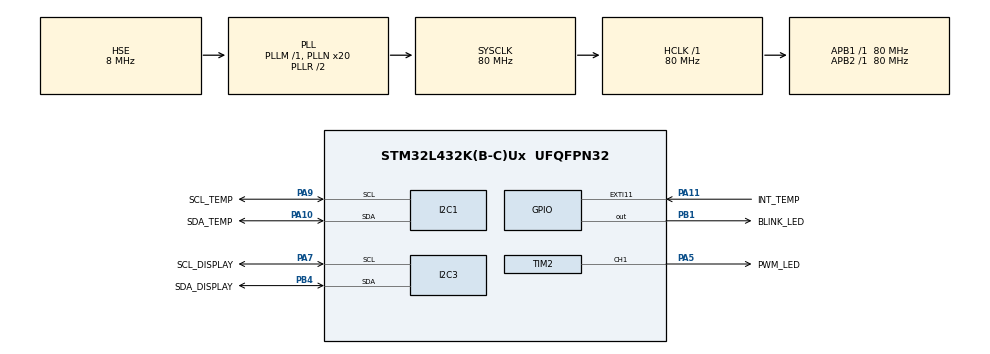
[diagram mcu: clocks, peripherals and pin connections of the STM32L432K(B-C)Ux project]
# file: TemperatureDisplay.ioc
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Dma.Request0=TIM2_CH1
Dma.TIM2_CH1.0.Direction=DMA_MEMORY_TO_PERIPH
Dma.TIM2_CH1.0.Instance=DMA1_Channel5
Dma.TIM2_CH1.0.MemDataAlignment=DMA_MDATAALIGN_BYTE
Dma.TIM2_CH1.0.MemInc=DMA_MINC_ENABLE
Dma.TIM2_CH1.0.Mode=DMA_NORMAL
Dma.TIM2_CH1.0.PeriphDataAlignment=DMA_PDATAALIGN_WORD
Dma.TIM2_CH1.0.PeriphInc=DMA_PINC_DISABLE
Dma.TIM2_CH1.0.Priority=DMA_PRIORITY_LOW
FREERTOS.Events01=sensorEvent,Static,sensorEventControlBlock
FREERTOS.INCLUDE_uxTaskGetStackHighWaterMark2=1
FREERTOS.Queues01=humidityValue,10,uint8_t,0,Static,humidityValueBuffer,humidityValueControlBlock;temperatureValue,10,uint8_t,0,Static,temperatureValueBuffer,temperatureValueControlBlock
FREERTOS.Tasks01=defaultTask,24,128,StartDefaultTask,Default,NULL,Static,defaultTaskBuffer,defaultTaskControlBlock;sensorTask,24,512,StartSensorTask,Default,NULL,Static,sensorTaskBuffer,sensorTaskControlBlock;displayTask,16,3000,StartDisplayTask,Default,NULL,Static,displayTaskBuffer,displayTaskControlBlock;ledTask,8,256,StartLedTask,Default,NULL,Static,ledTaskBuffer,ledTaskControlBlock
FREERTOS.configCHECK_FOR_STACK_OVERFLOW=2
FREERTOS.configENABLE_FPU=1
FREERTOS.configUSE_NEWLIB_REENTRANT=1
I2C1.Timing=0x10D19CE4
I2C3.Speed=100
I2C3.Timing=0x10D19CE4
Mcu.Family=STM32L4
Mcu.Name=STM32L432K(B-C)Ux
Mcu.Package=UFQFPN32
NVIC.DMA1_Channel5_IRQn=true\:5\:0\:false\:false\:true\:true\:false\:true\:true
NVIC.EXTI15_10_IRQn=true\:5\:0\:false\:false\:true\:true\:true\:true\:true
NVIC.PriorityGroup=NVIC_PRIORITYGROUP_4
NVIC.TIM2_IRQn=true\:5\:0\:false\:false\:true\:true\:true\:true\:true
NVIC.TIM7_IRQn=true\:15\:0\:false\:false\:true\:false\:false\:true\:true
NVIC.TimeBase=TIM7_IRQn
NVIC.TimeBaseIP=TIM7
PA0.Mode=HSE-External-Clock-Source-for-LittleOrca
PA0.Signal=RCC_CK_IN
PA10.GPIO_Label=SDA_TEMP
PA10.Mode=I2C
PA10.Signal=I2C1_SDA
PA11.GPIO_Label=INT_TEMP
PA11.GPIO_ModeDefaultEXTI=GPIO_MODE_IT_FALLING
PA11.GPIO_PuPd=GPIO_PULLUP
PA11.Signal=GPXTI11
PA13\ (JTMS-SWDIO).Mode=Serial_Wire
PA13\ (JTMS-SWDIO).Signal=SYS_JTMS-SWDIO
PA14\ (JTCK-SWCLK).Mode=Serial_Wire
PA14\ (JTCK-SWCLK).Signal=SYS_JTCK-SWCLK
PA5.GPIO_Label=PWM_LED
PA5.Signal=S_TIM2_CH1
PA7.GPIO_Label=SCL_DISPLAY
PA7.GPIO_Pu=GPIO_PULLUP
PA7.Mode=I2C
PA7.Signal=I2C3_SCL
PA9.GPIO_Label=SCL_TEMP
PA9.Mode=I2C
PA9.Signal=I2C1_SCL
PB1.GPIO_Label=BLINK_LED
PB1.Signal=GPIO_Output
PB4\ (NJTRST).GPIO_Label=SDA_DISPLAY
PB4\ (NJTRST).GPIO_Pu=GPIO_PULLUP
PB4\ (NJTRST).Mode=I2C
PB4\ (NJTRST).Signal=I2C3_SDA
ProjectManager.HeapSize=0x200
ProjectManager.StackSize=0x400
ProjectManager.TargetToolchain=CMake
RCC.ADCFreq_Value=32000000
RCC.AHBFreq_Value=80000000
RCC.APB1Freq_Value=80000000
RCC.APB1TimFreq_Value=80000000
RCC.APB2Freq_Value=80000000
RCC.APB2TimFreq_Value=80000000
RCC.CortexFreq_Value=80000000
RCC.HCLKFreq_Value=80000000
RCC.HSE_VALUE=8000000
RCC.HSI48_VALUE=48000000
RCC.HSI_VALUE=16000000
RCC.LSE_VALUE=32768
RCC.MSI_VALUE=4000000
RCC.PLLN=20
RCC.PLLSourceVirtual=RCC_PLLSOURCE_HSE
RCC.SYSCLKFreq_VALUE=80000000
RCC.SYSCLKSource=RCC_SYSCLKSOURCE_PLLCLK
RCC.USBFreq_Value=32000000
RCC.VCOOutputFreq_Value=160000000
SH.S_TIM2_CH1.0=TIM2_CH1,PWM Generation1 CH1
TIM2.Channel-PWM\ Generation1\ CH1=TIM_CHANNEL_1
TIM2.Period=99
VP_FREERTOS_VS_CMSIS_V2.Mode=CMSIS_V2
VP_SYS_VS_tim7.Mode=TIM7
VP_TIM2_VS_ClockSourceINT.Mode=Internal
board=custom

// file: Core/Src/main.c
/* USER CODE BEGIN Header */
/**
  ******************************************************************************
  * @file           : main.c
  * @brief          : Main program body
  ******************************************************************************
  * @attention
  *
  * Copyright (c) 2026 STMicroelectronics.
  * All rights reserved.
  *
  * This software is licensed under terms that can be found in the LICENSE file
  * in the root directory of this software component.
  * If no LICENSE file comes with this software, it is provided AS-IS.
  *
  ******************************************************************************
  */
/* USER CODE END Header */
#include "main.h"
#include "cmsis_os.h"

/* USER CODE BEGIN Includes */
#include "ssd1306_fonts.h"
#include "ssd1306.h"
#include "hdc2010.h"
#include "ws2812b.h"
#include <stdio.h>
// I2C api
// https://dev.st.com/stm32cube-docs/stm32u5-hal2/2.0.0-beta.1.1/docs/drivers/hal_drivers/i2c/hal_i2c_apis.html

/* USER CODE END Includes */

typedef StaticTask_t osStaticThreadDef_t;
typedef StaticQueue_t osStaticMessageQDef_t;
typedef StaticEventGroup_t osStaticEventGroupDef_t;

/* USER CODE BEGIN PD */

// FreeRTOS Events
#define SENSOR_READY 0x01

/* USER CODE END PD */

I2C_HandleTypeDef hi2c1;
I2C_HandleTypeDef hi2c3;

TIM_HandleTypeDef htim2;
DMA_HandleTypeDef hdma_tim2_ch1;

/* Definitions for defaultTask */
osThreadId_t defaultTaskHandle;
uint32_t defaultTaskBuffer[ 128 ];
osStaticThreadDef_t defaultTaskControlBlock;
const osThreadAttr_t defaultTask_attributes = {
  .name = "defaultTask",
  .cb_mem = &defaultTaskControlBlock,
  .cb_size = sizeof(defaultTaskControlBlock),
  .stack_mem = &defaultTaskBuffer[0],
  .stack_size = sizeof(defaultTaskBuffer),
  .priority = (osPriority_t) osPriorityNormal,
};
/* Definitions for sensorTask */
osThreadId_t sensorTaskHandle;
uint32_t sensorTaskBuffer[ 512 ];
osStaticThreadDef_t sensorTaskControlBlock;
const osThreadAttr_t sensorTask_attributes = {
  .name = "sensorTask",
  .cb_mem = &sensorTaskControlBlock,
  .cb_size = sizeof(sensorTaskControlBlock),
  .stack_mem = &sensorTaskBuffer[0],
  .stack_size = sizeof(sensorTaskBuffer),
  .priority = (osPriority_t) osPriorityNormal,
};
/* Definitions for displayTask */
osThreadId_t displayTaskHandle;
uint32_t displayTaskBuffer[ 3000 ];
osStaticThreadDef_t displayTaskControlBlock;
const osThreadAttr_t displayTask_attributes = {
  .name = "displayTask",
  .cb_mem = &displayTaskControlBlock,
  .cb_size = sizeof(displayTaskControlBlock),
  .stack_mem = &displayTaskBuffer[0],
  .stack_size = sizeof(displayTaskBuffer),
  .priority = (osPriority_t) osPriorityBelowNormal,
};
/* Definitions for ledTask */
osThreadId_t ledTaskHandle;
uint32_t ledTaskBuffer[ 256 ];
osStaticThreadDef_t ledTaskControlBlock;
const osThreadAttr_t ledTask_attributes = {
  .name = "ledTask",
  .cb_mem = &ledTaskControlBlock,
  .cb_size = sizeof(ledTaskControlBlock),
  .stack_mem = &ledTaskBuffer[0],
  .stack_size = sizeof(ledTaskBuffer),
  .priority = (osPriority_t) osPriorityLow,
};
/* Definitions for humidityValue */
osMessageQueueId_t humidityValueHandle;
uint8_t humidityValueBuffer[ 10 * sizeof( uint8_t ) ];
osStaticMessageQDef_t humidityValueControlBlock;
const osMessageQueueAttr_t humidityValue_attributes = {
  .name = "humidityValue",
  .cb_mem = &humidityValueControlBlock,
  .cb_size = sizeof(humidityValueControlBlock),
  .mq_mem = &humidityValueBuffer,
  .mq_size = sizeof(humidityValueBuffer)
};
/* Definitions for temperatureValue */
osMessageQueueId_t temperatureValueHandle;
uint8_t temperatureValueBuffer[ 10 * sizeof( uint8_t ) ];
osStaticMessageQDef_t temperatureValueControlBlock;
const osMessageQueueAttr_t temperatureValue_attributes = {
  .name = "temperatureValue",
  .cb_mem = &temperatureValueControlBlock,
  .cb_size = sizeof(temperatureValueControlBlock),
  .mq_mem = &temperatureValueBuffer,
  .mq_size = sizeof(temperatureValueBuffer)
};
/* Definitions for sensorEvent */
osEventFlagsId_t sensorEventHandle;
osStaticEventGroupDef_t sensorEventControlBlock;
const osEventFlagsAttr_t sensorEvent_attributes = {
  .name = "sensorEvent",
  .cb_mem = &sensorEventControlBlock,
  .cb_size = sizeof(sensorEventControlBlock),
};

void SystemClock_Config(void);
static void MX_GPIO_Init(void);
static void MX_DMA_Init(void);
static void MX_I2C1_Init(void);
static void MX_I2C3_Init(void);
static void MX_TIM2_Init(void);
void StartDefaultTask(void *argument);
void StartSensorTask(void *argument);
void StartDisplayTask(void *argument);
void StartLedTask(void *argument);

/* USER CODE BEGIN 0 */
void HAL_TIM_PWM_PulseFinishedCallback(TIM_HandleTypeDef *htim)
{
  WS2812_Callback();
}

/* Handle Sensor Interrupt */
void HAL_GPIO_EXTI_Callback(uint16_t GPIO_Pin)
{
  osEventFlagsSet(sensorEventHandle, SENSOR_READY);
}
/* USER CODE END 0 */

int main(void)
{

  /* MCU Configuration--------------------------------------------------------*/

  /* Reset of all peripherals, Initializes the Flash interface and the Systick. */
  HAL_Init();

  /* Configure the system clock */
  SystemClock_Config();

  /* USER CODE BEGIN SysInit */

  // Enable debugging in Low-Power modes
  HAL_DBGMCU_EnableDBGSleepMode();
  HAL_DBGMCU_EnableDBGStopMode();
  HAL_DBGMCU_EnableDBGStandbyMode();

  /* USER CODE END SysInit */

  /* Initialize all configured peripherals */
  MX_GPIO_Init();
  MX_DMA_Init();
  MX_I2C1_Init();
  MX_I2C3_Init();
  MX_TIM2_Init();
  /* USER CODE BEGIN 2 */

  // Initialize Addressable LED
  WS2812_Init();

  /* USER CODE END 2 */

  /* Init scheduler */
  osKernelInitialize();

  /* Create the queue(s) */
  /* creation of humidityValue */
  humidityValueHandle = osMessageQueueNew (10, sizeof(uint8_t), &humidityValue_attributes);

  /* creation of temperatureValue */
  temperatureValueHandle = osMessageQueueNew (10, sizeof(uint8_t), &temperatureValue_attributes);

  /* Create the thread(s) */
  /* creation of defaultTask */
  defaultTaskHandle = osThreadNew(StartDefaultTask, NULL, &defaultTask_attributes);

  /* creation of sensorTask */
  sensorTaskHandle = osThreadNew(StartSensorTask, NULL, &sensorTask_attributes);

  /* creation of displayTask */
  displayTaskHandle = osThreadNew(StartDisplayTask, NULL, &displayTask_attributes);

  /* creation of ledTask */
  ledTaskHandle = osThreadNew(StartLedTask, NULL, &ledTask_attributes);

  /* Create the event(s) */
  /* creation of sensorEvent */
  sensorEventHandle = osEventFlagsNew(&sensorEvent_attributes);

  /* Start scheduler */
  osKernelStart();

  /* We should never get here as control is now taken by the scheduler */

  /* Infinite loop */
  while (1)
  {

  }
}

void SystemClock_Config(void)
{
  RCC_OscInitTypeDef RCC_OscInitStruct = {0};
  RCC_ClkInitTypeDef RCC_ClkInitStruct = {0};

  /** Configure the main internal regulator output voltage
  */
  if (HAL_PWREx_ControlVoltageScaling(PWR_REGULATOR_VOLTAGE_SCALE1) != HAL_OK)
  {
    Error_Handler();
  }

  /** Initializes the RCC Oscillators according to the specified parameters
  * in the RCC_OscInitTypeDef structure.
  */
  RCC_OscInitStruct.OscillatorType = RCC_OSCILLATORTYPE_HSE;
  RCC_OscInitStruct.HSEState = RCC_HSE_BYPASS;
  RCC_OscInitStruct.PLL.PLLState = RCC_PLL_ON;
  RCC_OscInitStruct.PLL.PLLSource = RCC_PLLSOURCE_HSE;
  RCC_OscInitStruct.PLL.PLLM = 1;
  RCC_OscInitStruct.PLL.PLLN = 20;
  RCC_OscInitStruct.PLL.PLLP = RCC_PLLP_DIV7;
  RCC_OscInitStruct.PLL.PLLQ = RCC_PLLQ_DIV2;
  RCC_OscInitStruct.PLL.PLLR = RCC_PLLR_DIV2;
  if (HAL_RCC_OscConfig(&RCC_OscInitStruct) != HAL_OK)
  {
    Error_Handler();
  }

  /** Initializes the CPU, AHB and APB buses clocks
  */
  RCC_ClkInitStruct.ClockType = RCC_CLOCKTYPE_HCLK|RCC_CLOCKTYPE_SYSCLK
                              |RCC_CLOCKTYPE_PCLK1|RCC_CLOCKTYPE_PCLK2;
  RCC_ClkInitStruct.SYSCLKSource = RCC_SYSCLKSOURCE_PLLCLK;
  RCC_ClkInitStruct.AHBCLKDivider = RCC_SYSCLK_DIV1;
  RCC_ClkInitStruct.APB1CLKDivider = RCC_HCLK_DIV1;
  RCC_ClkInitStruct.APB2CLKDivider = RCC_HCLK_DIV1;

  if (HAL_RCC_ClockConfig(&RCC_ClkInitStruct, FLASH_LATENCY_4) != HAL_OK)
  {
    Error_Handler();
  }
}

static void MX_I2C1_Init(void)
{

  hi2c1.Instance = I2C1;
  hi2c1.Init.Timing = 0x10D19CE4;
  hi2c1.Init.OwnAddress1 = 0;
  hi2c1.Init.AddressingMode = I2C_ADDRESSINGMODE_7BIT;
  hi2c1.Init.DualAddressMode = I2C_DUALADDRESS_DISABLE;
  hi2c1.Init.OwnAddress2 = 0;
  hi2c1.Init.OwnAddress2Masks = I2C_OA2_NOMASK;
  hi2c1.Init.GeneralCallMode = I2C_GENERALCALL_DISABLE;
  hi2c1.Init.NoStretchMode = I2C_NOSTRETCH_DISABLE;
  if (HAL_I2C_Init(&hi2c1) != HAL_OK)
  {
    Error_Handler();
  }

  /** Configure Analogue filter
  */
  if (HAL_I2CEx_ConfigAnalogFilter(&hi2c1, I2C_ANALOGFILTER_ENABLE) != HAL_OK)
  {
    Error_Handler();
  }

  /** Configure Digital filter
  */
  if (HAL_I2CEx_ConfigDigitalFilter(&hi2c1, 0) != HAL_OK)
  {
    Error_Handler();
  }

}

static void MX_I2C3_Init(void)
{

  hi2c3.Instance = I2C3;
  hi2c3.Init.Timing = 0x10D19CE4;
  hi2c3.Init.OwnAddress1 = 0;
  hi2c3.Init.AddressingMode = I2C_ADDRESSINGMODE_7BIT;
  hi2c3.Init.DualAddressMode = I2C_DUALADDRESS_DISABLE;
  hi2c3.Init.OwnAddress2 = 0;
  hi2c3.Init.OwnAddress2Masks = I2C_OA2_NOMASK;
  hi2c3.Init.GeneralCallMode = I2C_GENERALCALL_DISABLE;
  hi2c3.Init.NoStretchMode = I2C_NOSTRETCH_DISABLE;
  if (HAL_I2C_Init(&hi2c3) != HAL_OK)
  {
    Error_Handler();
  }

  /** Configure Analogue filter
  */
  if (HAL_I2CEx_ConfigAnalogFilter(&hi2c3, I2C_ANALOGFILTER_ENABLE) != HAL_OK)
  {
    Error_Handler();
  }

  /** Configure Digital filter
  */
  if (HAL_I2CEx_ConfigDigitalFilter(&hi2c3, 0) != HAL_OK)
  {
    Error_Handler();
  }

}

static void MX_TIM2_Init(void)
{

  TIM_ClockConfigTypeDef sClockSourceConfig = {0};
  TIM_MasterConfigTypeDef sMasterConfig = {0};
  TIM_OC_InitTypeDef sConfigOC = {0};

  htim2.Instance = TIM2;
  htim2.Init.Prescaler = 0;
  htim2.Init.CounterMode = TIM_COUNTERMODE_UP;
  htim2.Init.Period = 99;
  htim2.Init.ClockDivision = TIM_CLOCKDIVISION_DIV1;
  htim2.Init.AutoReloadPreload = TIM_AUTORELOAD_PRELOAD_DISABLE;
  if (HAL_TIM_Base_Init(&htim2) != HAL_OK)
  {
    Error_Handler();
  }
  sClockSourceConfig.ClockSource = TIM_CLOCKSOURCE_INTERNAL;
  if (HAL_TIM_ConfigClockSource(&htim2, &sClockSourceConfig) != HAL_OK)
  {
    Error_Handler();
  }
  if (HAL_TIM_PWM_Init(&htim2) != HAL_OK)
  {
    Error_Handler();
  }
  sMasterConfig.MasterOutputTrigger = TIM_TRGO_RESET;
  sMasterConfig.MasterSlaveMode = TIM_MASTERSLAVEMODE_DISABLE;
  if (HAL_TIMEx_MasterConfigSynchronization(&htim2, &sMasterConfig) != HAL_OK)
  {
    Error_Handler();
  }
  sConfigOC.OCMode = TIM_OCMODE_PWM1;
  sConfigOC.Pulse = 0;
  sConfigOC.OCPolarity = TIM_OCPOLARITY_HIGH;
  sConfigOC.OCFastMode = TIM_OCFAST_DISABLE;
  if (HAL_TIM_PWM_ConfigChannel(&htim2, &sConfigOC, TIM_CHANNEL_1) != HAL_OK)
  {
    Error_Handler();
  }
  HAL_TIM_MspPostInit(&htim2);

}

static void MX_DMA_Init(void)
{

  /* DMA controller clock enable */
  __HAL_RCC_DMA1_CLK_ENABLE();

  /* DMA interrupt init */
  /* DMA1_Channel5_IRQn interrupt configuration */
  HAL_NVIC_SetPriority(DMA1_Channel5_IRQn, 5, 0);
  HAL_NVIC_EnableIRQ(DMA1_Channel5_IRQn);

}

static void MX_GPIO_Init(void)
{
  GPIO_InitTypeDef GPIO_InitStruct = {0};

  /* GPIO Ports Clock Enable */
  __HAL_RCC_GPIOA_CLK_ENABLE();
  __HAL_RCC_GPIOB_CLK_ENABLE();

  /*Configure GPIO pin Output Level */
  HAL_GPIO_WritePin(BLINK_LED_GPIO_Port, BLINK_LED_Pin, GPIO_PIN_RESET);

  /*Configure GPIO pin : BLINK_LED_Pin */
  GPIO_InitStruct.Pin = BLINK_LED_Pin;
  GPIO_InitStruct.Mode = GPIO_MODE_OUTPUT_PP;
  GPIO_InitStruct.Pull = GPIO_NOPULL;
  GPIO_InitStruct.Speed = GPIO_SPEED_FREQ_LOW;
  HAL_GPIO_Init(BLINK_LED_GPIO_Port, &GPIO_InitStruct);

  /*Configure GPIO pin : INT_TEMP_Pin */
  GPIO_InitStruct.Pin = INT_TEMP_Pin;
  GPIO_InitStruct.Mode = GPIO_MODE_IT_FALLING;
  GPIO_InitStruct.Pull = GPIO_PULLUP;
  HAL_GPIO_Init(INT_TEMP_GPIO_Port, &GPIO_InitStruct);

  /* EXTI interrupt init*/
  HAL_NVIC_SetPriority(EXTI15_10_IRQn, 5, 0);
  HAL_NVIC_EnableIRQ(EXTI15_10_IRQn);

}

void StartDefaultTask(void *argument)
{
  /* USER CODE BEGIN 5 */

  // For now DefaultTask is unused
  osThreadTerminate(defaultTaskHandle);

  /* Infinite loop */
  for(;;)
  {
    osDelay(1000);
  }

  /* USER CODE END 5 */
}

void StartSensorTask(void *argument)
{
  /* USER CODE BEGIN StartSensorTask */
  WS2812_SetColor(0,0, 5, 0);
  WS2812_Update();
  osDelay(1000);

  WS2812_SetColor(0,5, 0, 0);
  WS2812_Update();
  osDelay(1000);

  WS2812_SetColor(0,0, 0, 5);
  WS2812_Update();
  osDelay(1000);

  if (hdc2010_init() != HAL_OK)
  {
    // log error
    WS2812_SetColor(0,3, 0, 0);
    WS2812_Update();
  }

  uint8_t humidity = 1;
  uint8_t temperature = 1;

  /* Infinite loop */
  for(;;)
  {
    // 1800
    uint32_t task1Stack = osThreadGetStackSpace(sensorTaskHandle);

    // Wait for interrupt signal from HDC2010 before retreiving data
    // osEventFlagsWait(sensorEventHandle, SENSOR_READY, osFlagsWaitAll, osWaitForever);

    // // Retreive data from sensor
    // if (hdc2010_read_temperature_humidity(&temperature, &humidity) != HAL_OK)
    // {
    //   // log error
    // }

    // Put temperature and humidity values in queues
    osMessageQueuePut(humidityValueHandle, &humidity, 0, 0);
    osMessageQueuePut(temperatureValueHandle, &temperature, 0, 0);

    ++humidity;
    ++temperature;

    osDelay(1000);
  }
  /* USER CODE END StartSensorTask */
}

void StartDisplayTask(void *argument)
{
  /* USER CODE BEGIN StartDisplayTask */
  // Initialize display
  ssd1306_Init();
  ssd1306_Fill(Black);
  ssd1306_WriteString("Starting...", Font_11x18, White);
  ssd1306_UpdateScreen();
  //
  // WS2812_SetColor(0,3, 0, 0);
  // WS2812_Update();

  uint8_t humidity = 0;
  uint8_t temperature = 0;

  char cHumidity[10] = {0};
  char cTemperature[10] = {0};

  osDelay(1000);

  /* Infinite loop */
  for(;;)
  {
    // 11528
    uint32_t task2Stack = osThreadGetStackSpace(displayTaskHandle);

    // Retreive data from queue
    // If queue is empty, use previous value
    osStatus_t _h = osMessageQueueGet(humidityValueHandle, &humidity, NULL, 0);
    osStatus_t _t = osMessageQueueGet(temperatureValueHandle, &temperature, NULL, 0);

    // Convert values to string
    snprintf(cHumidity, sizeof(cHumidity), "%d", humidity);
    snprintf(cTemperature, sizeof(cTemperature), "%d", temperature);

    // Render Values
    ssd1306_Fill(Black);
    ssd1306_SetCursor(0, 0);
    ssd1306_WriteString("T: ", Font_11x18, White);
    ssd1306_WriteString(cTemperature, Font_11x18, White);
    ssd1306_WriteString(" C", Font_11x18, White);

    ssd1306_SetCursor(0, 20);
    ssd1306_WriteString("H: ", Font_11x18, White);
    ssd1306_WriteString(cHumidity, Font_11x18, White);
    ssd1306_WriteString(" %", Font_11x18, White);
    ssd1306_UpdateScreen();

    // Set color of WS2818B LED
    // WS2812_SetColor(0,0, 0, 1);
    // WS2812_Update();

    osDelay(1000);
  }
  /* USER CODE END StartDisplayTask */
}

void StartLedTask(void *argument)
{
  /* USER CODE BEGIN StartLedTask */
  /* Infinite loop */
  for(;;)
  {
    // 872
    uint32_t task3Stack = osThreadGetStackSpace(ledTaskHandle);
    HAL_GPIO_TogglePin(BLINK_LED_GPIO_Port, BLINK_LED_Pin);
    osDelay(1000);
  }
  /* USER CODE END StartLedTask */
}

void HAL_TIM_PeriodElapsedCallback(TIM_HandleTypeDef *htim)
{
  if (htim->Instance == TIM7)
  {
    HAL_IncTick();
  }
}

void Error_Handler(void)
{
  __disable_irq();
  while (1)
  {
  }
}

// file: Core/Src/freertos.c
/* USER CODE BEGIN Header */
/**
  ******************************************************************************
  * File Name          : freertos.c
  * Description        : Code for freertos applications
  ******************************************************************************
  * @attention
  *
  * Copyright (c) 2026 STMicroelectronics.
  * All rights reserved.
  *
  * This software is licensed under terms that can be found in the LICENSE file
  * in the root directory of this software component.
  * If no LICENSE file comes with this software, it is provided AS-IS.
  *
  ******************************************************************************
  */
/* USER CODE END Header */

#include "FreeRTOS.h"
#include "task.h"
#include "main.h"

/* Hook prototypes */
void vApplicationStackOverflowHook(xTaskHandle xTask, signed char *pcTaskName);

/* USER CODE BEGIN 4 */
void vApplicationStackOverflowHook(xTaskHandle xTask, signed char *pcTaskName)
{
   /* Run time stack overflow checking is performed if
   configCHECK_FOR_STACK_OVERFLOW is defined to 1 or 2. This hook function is
   called if a stack overflow is detected. */

   while (1) {

   }
}
/* USER CODE END 4 */
